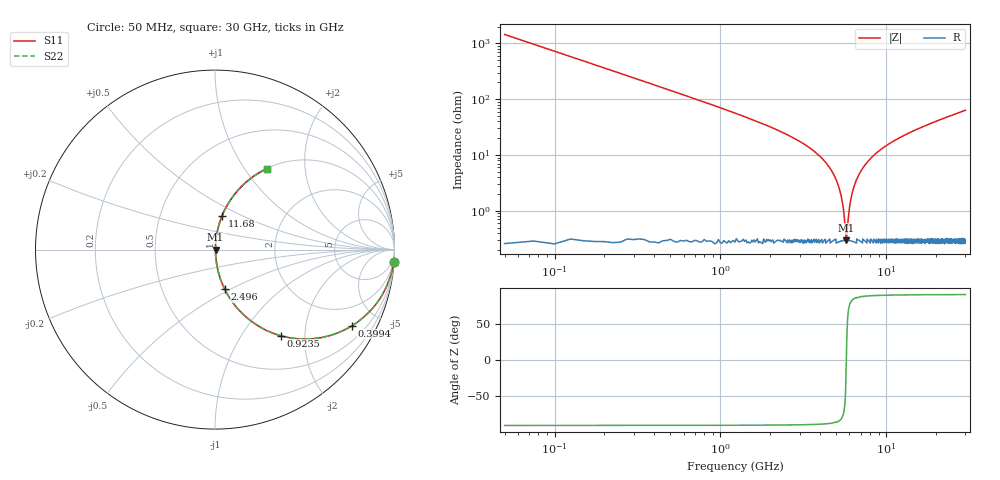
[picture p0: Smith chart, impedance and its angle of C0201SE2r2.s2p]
!	AVX Thin Film Operation 	Date: April 2014
!	Description: Accu-P® Series, Thin Film  SMD RF Capacitor
!	Part Number: 02013J2R2QBSTR
# MHZ S MA R 50
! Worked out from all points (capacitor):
!   1201 points, 50 MHz to 30 GHz, reference 50 ohm
!   read as one part in series: C = 2.2 pF near 199.8 MHz
!   lowest |Z| = 295 mohm at 5.74 GHz (marker M1)
!   series resonance near 5.745 GHz, so ESL is about 350 pH
!   S11 on the Smith chart (normalised r, x): 50 MHz: 1, -29; 399.4 MHz: 1.00, -3.61; 923.5 MHz: 1.00, -1.53; 2.496 GHz: 1.01, -0.47; 11.68 GHz: 1.01, +0.39; 30 GHz: 1.01, +1.27
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50  0.998 -4.0  0.069 86.0  0.069 86.0  0.998 -4.0
249.667  0.945 -19.1  0.327 70.9  0.327 70.9  0.945 -19.1
399.417  0.874 -29.0  0.485 60.9  0.485 60.9  0.874 -29.0
923.542  0.606 -52.5  0.794 37.3  0.794 37.3  0.606 -52.5
1547.5  0.397 -66.2  0.915 23.4  0.915 23.4  0.397 -66.2
2495.917  0.228 -76.1  0.971 13.2  0.971 13.2  0.228 -76.1
4168.125  0.082 -83.3  0.994 4.7  0.994 4.7  0.082 -83.3
5041.667  0.033 -83.1  0.997 1.9  0.997 1.9  0.033 -83.1
5366.125  0.017 -79.6  0.997 1.0  0.997 1.0  0.017 -79.6
5640.667  0.005437 -58.0  0.997 0.3  0.997 0.3  0.005437 -58.0
5740.5  0.00287 -4.3  0.997 0.0  0.997 0.0  0.00287 -4.3
5840.333  0.00501 54.9  0.997 -0.2  0.997 -0.2  0.00501 54.9
6040  0.013 76.4  0.997 -0.7  0.997 -0.7  0.013 76.4
6239.667  0.021 81.0  0.997 -1.2  0.997 -1.2  0.021 81.0
6913.542  0.047 83.8  0.996 -2.7  0.996 -2.7  0.047 83.8
8136.5  0.089 83.1  0.993 -5.1  0.993 -5.1  0.089 83.1
10058.29  0.147 80.5  0.986 -8.4  0.986 -8.4  0.147 80.5
11680.58  0.19 78.2  0.979 -11.0  0.979 -11.0  0.19 78.2
15025  0.27 73.8  0.96 -15.7  0.96 -15.7  0.27 73.8
20016.67  0.373 67.7  0.925 -21.9  0.925 -21.9  0.373 67.7
25033.29  0.46 62.3  0.885 -27.4  0.885 -27.4  0.46 62.3
30000  0.534 57.5  0.843 -32.3  0.843 -32.3  0.534 57.5
